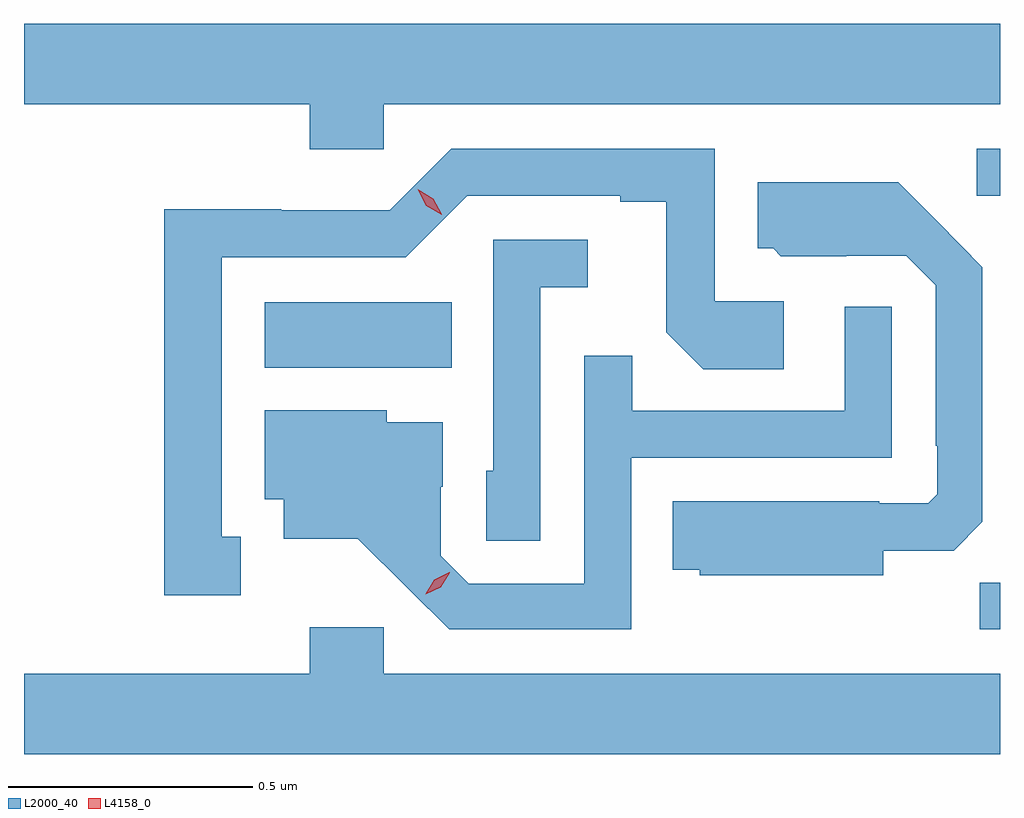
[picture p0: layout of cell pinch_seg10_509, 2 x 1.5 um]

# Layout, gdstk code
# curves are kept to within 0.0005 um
import gdstk
lib = gdstk.Library(unit=1e-6, precision=1e-09)
def R(c, l, rs):  # rectangles x0, y0, x1, y1
    for r in rs: c.add(gdstk.rectangle(r[:2], r[2:], *l))
def P(c, l, *ps):  # polygons
    for p in ps: c.add(gdstk.Polygon(p, *l))
L2000_40 = (2000, 40)
L4158_0 = (4158, 0)

pinch_seg10_509 = lib.new_cell('pinch_seg10_509')
R(pinch_seg10_509, L2000_40, [(290.908,1292.58,290.949,1292.675), (289.442,1293.116,289.826,1293.25), (290.901,1293.468,290.949,1293.564)])
P(pinch_seg10_509, L2000_40, [(289.686,1293.656),(290.949,1293.656),(290.949,1293.82),(288.949,1293.82),(288.949,1293.656),(289.535,1293.656),(289.535,1293.563),(289.686,1293.563)],
  [(289.393,1292.769),(289.354,1292.769),(289.354,1293.342),(289.731,1293.342),(289.857,1293.468),(290.171,1293.468),(290.171,1293.456),(290.265,1293.456),(290.265,1293.188),(290.341,1293.112),(290.506,1293.112),(290.506,1293.252),(290.364,1293.252),(290.364,1293.564),(289.824,1293.564),(289.698,1293.438),(289.476,1293.438),(289.476,1293.44),(289.236,1293.44),(289.236,1292.649),(289.393,1292.649)],
  [(290.71,1292.741),(290.854,1292.741),(290.913,1292.8),(290.913,1293.322),(290.741,1293.496),(290.453,1293.496),(290.453,1293.36),(290.484,1293.36),(290.5,1293.344),(290.634,1293.344),(290.634,1293.345),(290.757,1293.345),(290.817,1293.285),(290.817,1292.956),(290.82,1292.956),(290.82,1292.856),(290.802,1292.838),(290.702,1292.838),(290.702,1292.842),(290.278,1292.842),(290.278,1292.702),(290.334,1292.702),(290.334,1292.69),(290.71,1292.69)],
  [(290.007,1293.281),(290.104,1293.281),(290.104,1293.378),(289.911,1293.378),(289.911,1292.904),(289.896,1292.904),(289.896,1292.761),(290.007,1292.761)],
  [(290.193,1292.931),(290.727,1292.931),(290.727,1293.241),(290.631,1293.241),(290.631,1293.027),(290.195,1293.027),(290.195,1293.14),(290.097,1293.14),(290.097,1292.673),(289.86,1292.673),(289.803,1292.73),(289.803,1292.872),(289.807,1292.872),(289.807,1293.004),(289.692,1293.004),(289.692,1293.028),(289.442,1293.028),(289.442,1292.846),(289.481,1292.846),(289.481,1292.765),(289.633,1292.765),(289.82,1292.58),(290.193,1292.58)],
  [(290.949,1292.488),(289.686,1292.488),(289.686,1292.584),(289.535,1292.584),(289.535,1292.488),(288.949,1292.488),(288.949,1292.324),(290.949,1292.324)])
P(pinch_seg10_509, L4158_0, [(289.772,1292.651),(289.772,1292.652),(289.79,1292.681),(289.82,1292.696),(289.821,1292.696),(289.821,1292.695),(289.803,1292.666),(289.772,1292.651)],
  [(289.805,1293.429),(289.773,1293.448),(289.756,1293.481),(289.756,1293.481),(289.756,1293.481),(289.788,1293.462),(289.805,1293.43),(289.805,1293.429)])

lib.write_gds('pinch_seg10_509.gds')
